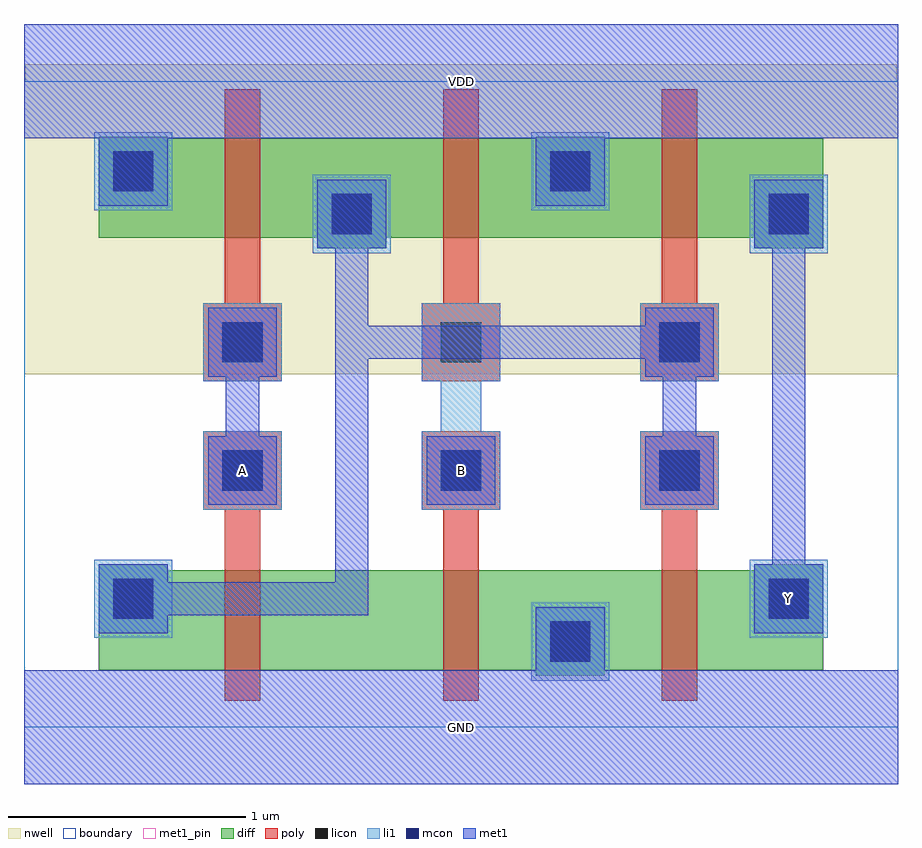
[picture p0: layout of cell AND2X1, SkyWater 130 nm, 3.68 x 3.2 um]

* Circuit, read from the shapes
.subckt AND2X1 A B GND VDD Y
XM1 n1 A n2 VSUBS sky130_fd_pr__nfet_01v8 w=0.42 l=0.15
XM2 GND B n1 VSUBS sky130_fd_pr__nfet_01v8 w=0.42 l=0.15
XM3 Y n2 GND VSUBS sky130_fd_pr__nfet_01v8 w=0.42 l=0.15
XM4 n2 A VDD n3 sky130_fd_pr__pfet_01v8 w=0.42 l=0.15
XM5 VDD B n2 n3 sky130_fd_pr__pfet_01v8 w=0.42 l=0.15
XM6 Y n2 VDD n3 sky130_fd_pr__pfet_01v8 w=0.42 l=0.15
.ends

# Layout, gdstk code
import gdstk
lib = gdstk.Library(unit=1e-6, precision=1e-09)
def R(c, l, rs):  # rectangles x0, y0, x1, y1
    for r in rs: c.add(gdstk.rectangle(r[:2], r[2:], *l))
def A(c, l, x, y, w, h, nx, ny, dx, dy):  # array of equal rectangles
    R(c, l, [(x+i*dx, y+j*dy, x+i*dx+w, y+j*dy+h) for i in range(nx) for j in range(ny)])
def P(c, l, *ps):  # polygons
    for p in ps: c.add(gdstk.Polygon(p, *l))
nwell = (64, 20)
diff = (65, 20)
poly = (66, 20)
licon = (66, 44)
li1 = (67, 20)
mcon = (67, 44)
met1_pin = (68, 16)
met1 = (68, 20)
boundary = (235, 4)

and2x1 = lib.new_cell('AND2X1')
P(and2x1, nwell, [(0,1.485),(0,2.72),(0.005,2.72),(0.005,2.79),(3.675,2.79),(3.675,2.72),(3.68,2.72),(3.68,1.485)])
P(and2x1, diff, [(2.155,0.215),(2.155,0.24),(0.315,0.24),(0.315,0.685),(0.605,0.685),(0.605,0.66),(3.075,0.66),(3.075,0.685),(3.365,0.685),(3.365,0.24),(2.445,0.24),(2.445,0.215)],
  [(1.235,2.015),(1.235,2.06),(0.315,2.06),(0.315,2.485),(0.605,2.485),(0.605,2.48),(2.155,2.48),(2.155,2.485),(2.445,2.485),(2.445,2.48),(3.365,2.48),(3.365,2.015),(3.075,2.015),(3.075,2.06),(1.525,2.06),(1.525,2.015)])
P(and2x1, poly, [(0.845,0.11),(0.845,0.915),(0.755,0.915),(0.755,1.245),(1.085,1.245),(1.085,0.915),(0.995,0.915),(0.995,0.11)],
  [(1.765,0.11),(1.765,0.915),(1.675,0.915),(1.675,1.245),(2.005,1.245),(2.005,0.915),(1.915,0.915),(1.915,0.11)],
  [(2.685,0.11),(2.685,0.915),(2.595,0.915),(2.595,1.245),(2.925,1.245),(2.925,0.915),(2.835,0.915),(2.835,0.11)],
  [(0.755,1.455),(0.755,1.785),(0.845,1.785),(0.845,2.685),(0.995,2.685),(0.995,1.785),(1.085,1.785),(1.085,1.455)],
  [(1.675,1.455),(1.675,1.785),(1.765,1.785),(1.765,2.685),(1.915,2.685),(1.915,1.785),(2.005,1.785),(2.005,1.455)],
  [(2.595,1.455),(2.595,1.785),(2.685,1.785),(2.685,2.685),(2.835,2.685),(2.835,1.785),(2.925,1.785),(2.925,1.455)])
A(and2x1, licon, 0.835, 0.995, 0.17, 0.17, 3, 2, 0.92, 0.54)
R(and2x1, licon, [(2.215,0.275,2.385,0.445), (0.375,0.455,0.545,0.625), (3.135,0.455,3.305,0.625), (1.295,2.075,1.465,2.245), (3.135,2.075,3.305,2.245), (0.375,2.255,0.545,2.425), (2.215,2.255,2.385,2.425)])
R(and2x1, li1, [(2.135,0.195,2.465,0.525), (0.295,0.375,0.625,0.705), (3.055,0.375,3.385,0.705), (0.755,0.915,1.085,1.245), (2.595,0.915,2.925,1.245), (0.755,1.455,1.085,1.785), (2.595,1.455,2.925,1.785), (1.215,1.995,1.545,2.325), (3.055,1.995,3.385,2.325), (0.295,2.175,0.625,2.505), (2.135,2.175,2.465,2.505)])
P(and2x1, li1, [(1.675,0.915),(1.675,1.245),(1.755,1.245),(1.755,1.455),(1.675,1.455),(1.675,1.785),(2.005,1.785),(2.005,1.455),(1.925,1.455),(1.925,1.245),(2.005,1.245),(2.005,0.915)])
A(and2x1, mcon, 0.835, 0.995, 0.17, 0.17, 3, 1, 0.92, 0)
R(and2x1, mcon, [(2.215,0.275,2.385,0.445), (0.375,0.455,0.545,0.625), (3.135,0.455,3.305,0.625), (0.835,1.535,1.005,1.705), (2.675,1.535,2.845,1.705), (1.295,2.075,1.465,2.245), (3.135,2.075,3.305,2.245), (0.375,2.255,0.545,2.425), (2.215,2.255,2.385,2.425)])
R(and2x1, met1_pin, [(0,-0.24,3.68,0.24), (1.695,0.935,1.985,1.225), (0,2.48,3.68,2.96)])
P(and2x1, met1_pin, [(3.075,0.395),(3.075,0.685),(3.15,0.685),(3.15,2.015),(3.075,2.015),(3.075,2.305),(3.365,2.305),(3.365,2.015),(3.29,2.015),(3.29,0.685),(3.365,0.685),(3.365,0.395)],
  [(0.775,0.935),(0.775,1.225),(0.85,1.225),(0.85,1.475),(0.775,1.475),(0.775,1.765),(1.065,1.765),(1.065,1.475),(0.99,1.475),(0.99,1.225),(1.065,1.225),(1.065,0.935)])
R(and2x1, met1, [(1.695,0.935,1.985,1.225)])
P(and2x1, met1, [(0,-0.24),(0,0.24),(2.155,0.24),(2.155,0.505),(2.445,0.505),(2.445,0.24),(3.68,0.24),(3.68,-0.24)],
  [(0.775,0.935),(0.775,1.225),(0.85,1.225),(0.85,1.475),(0.775,1.475),(0.775,1.765),(1.065,1.765),(1.065,1.475),(0.99,1.475),(0.99,1.225),(1.065,1.225),(1.065,0.935)],
  [(0.315,0.395),(0.315,0.685),(0.605,0.685),(0.605,0.61),(1.31,0.61),(1.31,2.015),(1.235,2.015),(1.235,2.305),(1.525,2.305),(1.525,2.015),(1.45,2.015),(1.45,1.69),(2.615,1.69),(2.615,1.765),(2.905,1.765),(2.905,1.475),(2.83,1.475),(2.83,1.225),(2.905,1.225),(2.905,0.935),(2.615,0.935),(2.615,1.225),(2.69,1.225),(2.69,1.475),(2.615,1.475),(2.615,1.55),(1.45,1.55),(1.45,0.47),(0.605,0.47),(0.605,0.395)],
  [(3.075,0.395),(3.075,0.685),(3.15,0.685),(3.15,2.015),(3.075,2.015),(3.075,2.305),(3.365,2.305),(3.365,2.015),(3.29,2.015),(3.29,0.685),(3.365,0.685),(3.365,0.395)],
  [(0.315,2.195),(0.315,2.48),(0,2.48),(0,2.96),(3.68,2.96),(3.68,2.48),(2.445,2.48),(2.445,2.195),(2.155,2.195),(2.155,2.48),(0.605,2.48),(0.605,2.195)])
R(and2x1, boundary, [(0,0,3.68,2.72)])
and2x1.add(gdstk.Label('Y', (3.22,0.54), layer=68, texttype=5))
and2x1.add(gdstk.Label('B', (1.84,1.08), layer=68, texttype=5))
and2x1.add(gdstk.Label('A', (0.92,1.08), layer=68, texttype=5))
and2x1.add(gdstk.Label('GND', (1.84,0), layer=68, texttype=5))
and2x1.add(gdstk.Label('VDD', (1.84,2.72), layer=68, texttype=5))

lib.write_gds('AND2X1.gds')
